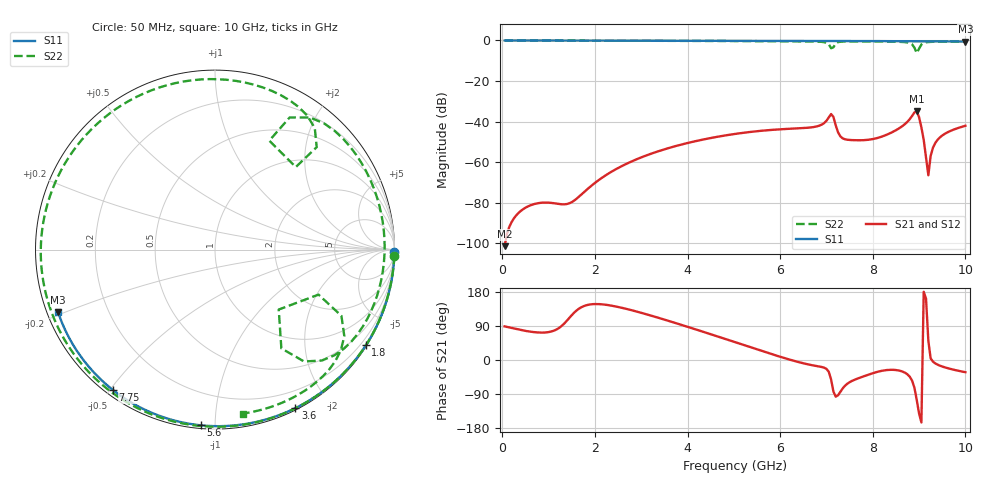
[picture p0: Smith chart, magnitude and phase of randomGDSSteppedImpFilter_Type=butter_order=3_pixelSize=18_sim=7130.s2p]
! freq	dB(S11)	phase(S11)	dB(S12)	phase(S12)
!  dB(S21)	phase(S21)	dB(S22)	phase(S22)
!S-par simulation data
#  GHz  S  DB  R 50
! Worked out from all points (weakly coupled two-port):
!   200 points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, 50 MHz to 10 GHz, reference 50 ohm
!   highest |S21| = -35.02 dB at 8.95 GHz (marker M1); lowest = -101.5 dB at 50 MHz (marker M2)
!   lowest |S11| = -0.5 dB at 10 GHz (marker M3), VSWR 33.08, Z = 1.57 - j9.59 ohm
!   |S11| at or under -10 dB: nowhere
!   |S22| runs from -6.2 to 0.0 dB; largest |S21 - S12| = 0
!   S11 on the Smith chart (normalised r, x): 50 MHz: open; 1.8 GHz: 0.03, -3.44; 3.6 GHz: 0.02, -1.63; 5.6 GHz: 0.02, -0.92; 7.75 GHz: 0.02, -0.51; 10 GHz: 0.03, -0.19
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0.05  -0.00 -0.9  -101.50 88.6  -101.50 88.6  -0.00 -2.0
1.45  -0.03 -26.2  -80.32 111.3  -80.32 111.3  -0.07 -56.2
1.75  -0.04 -31.5  -75.14 141.7  -75.14 141.7  -0.09 -67.5
1.8  -0.04 -32.4  -74.12 143.9  -74.12 143.9  -0.09 -69.4
3.4  -0.08 -59.8  -54.44 110.3  -54.44 110.3  -0.17 -129.7
3.6  -0.08 -63.1  -53.04 102.9  -53.04 102.9  -0.18 -137.4
5.05  -0.13 -86.2  -46.04 46.2  -46.04 46.2  -0.29 162.0
5.6  -0.16 -94.6  -44.55 24.1  -44.55 24.1  -0.35 135.4
6.7  -0.22 -110.9  -42.80 -14.0  -42.80 -14.0  -0.52 73.6
7  -0.24 -115.2  -39.65 -23.5  -39.65 -23.5  -1.15 50.6
7.1  -0.24 -116.7  -36.32 -51.3  -36.32 -51.3  -3.83 45.6
7.15  -0.24 -117.4  -37.69 -83.3  -37.69 -83.3  -3.37 63.5
7.3  -0.26 -119.6  -47.31 -83.9  -47.31 -83.9  -0.63 49.0
7.75  -0.29 -126.0  -49.24 -45.4  -49.24 -45.4  -0.46 18.2
8.35  -0.34 -134.5  -46.02 -26.1  -46.02 -26.1  -0.55 -16.0
8.8  -0.39 -140.9  -38.77 -44.4  -38.77 -44.4  -1.33 -46.0
8.95  -0.41 -143.0  -35.02 -105.7  -35.02 -105.7  -6.24 -43.2
9.1  -0.42 -145.2  -49.02 180.0  -49.02 180.0  -1.24 -33.8
9.2  -0.43 -146.7  -66.52 50.6  -66.52 50.6  -0.78 -42.9
9.25  -0.43 -147.4  -56.92 4.1  -56.92 4.1  -0.70 -46.3
9.4  -0.45 -149.5  -49.00 -12.3  -49.00 -12.3  -0.62 -54.9
10  -0.53 -158.3  -42.08 -32.2  -42.08 -32.2  -0.66 -80.3
